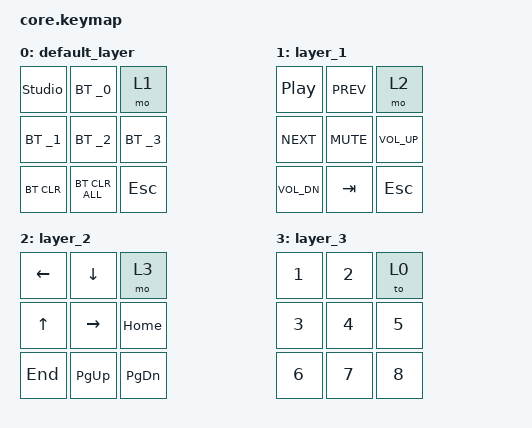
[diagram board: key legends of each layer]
#define ZMK_BEHAVIORS_KEEP_SK
#define ZMK_BEHAVIORS_KEEP_MT
#define ZMK_BEHAVIORS_KEEP_KT
#include <behaviors.dtsi>
#include <dt-bindings/zmk/bt.h>
#include <dt-bindings/zmk/keys.h>

/ {
    keymap {
        compatible = "zmk,keymap";

        // Default Layer (Layer 0)
        default_layer {
            bindings = <
                &studio_unlock  &bt BT_SEL_0    &mo 1
                &bt BT_SEL_1    &bt BT_SEL_2    &bt BT_SEL_3
                &bt BT_CLR      &bt BT_CLR_ALL  &kp ESC
            >;
        };

        // Layer 1: Media Controls
        layer_1 {
            bindings = <
                &kp C_PLAY_PAUSE   &kp C_PREV   &mo 2
                &kp C_NEXT         &kp C_MUTE   &kp C_VOL_UP
                &kp C_VOL_DN       &kp TAB      &kp ESC
            >;
        };

        // Layer 2: Navigation
        layer_2 {
            bindings = <
                &kp LEFT   &kp DOWN   &mo 3
                &kp UP     &kp RIGHT  &kp HOME
                &kp END    &kp PG_UP  &kp PG_DN
            >;
        };

        // Layer 3: Numbers/Symbols
        layer_3 {
            bindings = <
                &kp 1   &kp 2   &to 0
                &kp 3   &kp 4   &kp 5
                &kp 6   &kp 7   &kp 8
            >;
        };
    };
};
